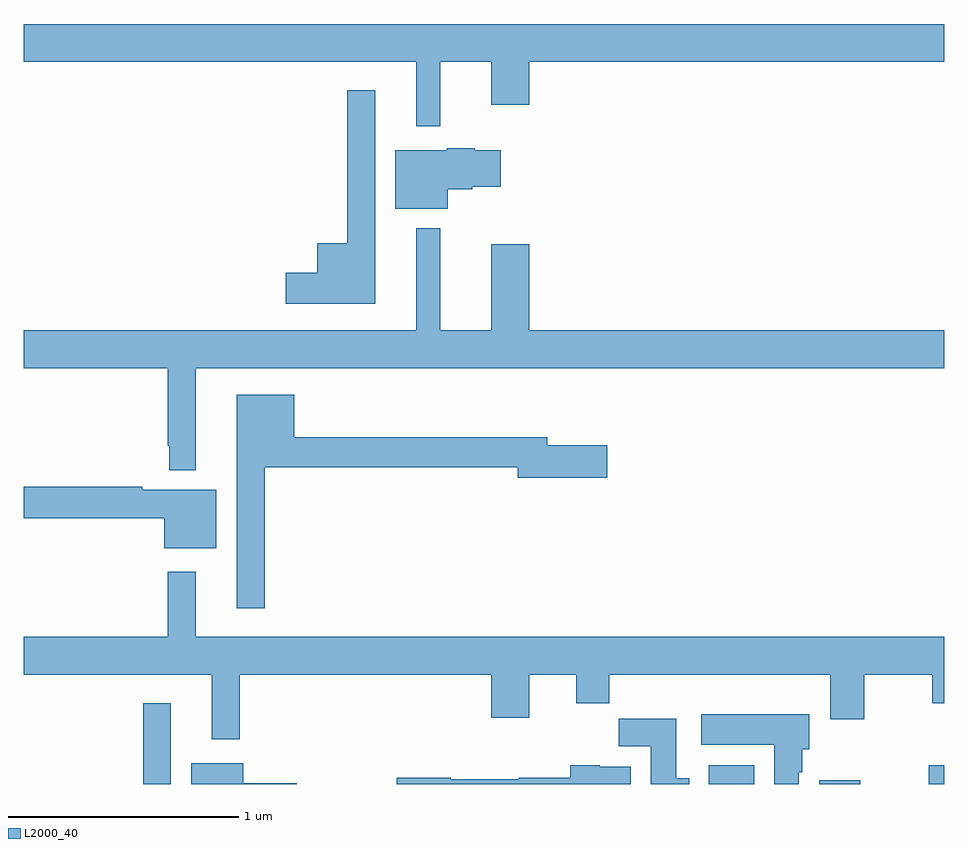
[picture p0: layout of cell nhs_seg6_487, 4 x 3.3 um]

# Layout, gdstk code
import gdstk
lib = gdstk.Library(unit=1e-6, precision=1e-09)
def R(c, l, rs):  # rectangles x0, y0, x1, y1
    for r in rs: c.add(gdstk.rectangle(r[:2], r[2:], *l))
def P(c, l, *ps):  # polygons
    for p in ps: c.add(gdstk.Polygon(p, *l))
L2000_40 = (2000, 40)

nhs_seg6_487 = lib.new_cell('nhs_seg6_487')
R(nhs_seg6_487, L2000_40, [(139.518,973.5,139.639,973.852), (141.977,973.5,142.174,973.582), (142.457,973.5,142.636,973.516), (142.933,973.5,143,973.582)])
P(nhs_seg6_487, L2000_40, [(140.809,976.64),(141.032,976.64),(141.032,976.452),(141.196,976.452),(141.196,976.64),(143,976.64),(143,976.804),(139,976.804),(139,976.64),(140.705,976.64),(140.705,976.359),(140.809,976.359)],
  [(140.527,976.516),(140.406,976.516),(140.406,975.85),(140.276,975.85),(140.276,975.722),(140.139,975.722),(140.139,975.587),(140.527,975.587)],
  [(140.842,976.085),(140.949,976.085),(140.949,976.097),(141.073,976.097),(141.073,976.255),(140.96,976.255),(140.96,976.263),(140.838,976.263),(140.838,976.255),(140.615,976.255),(140.615,976.001),(140.842,976.001)],
  [(139.747,975.308),(143,975.308),(143,975.472),(141.196,975.472),(141.196,975.847),(141.032,975.847),(141.032,975.472),(140.809,975.472),(140.809,975.916),(140.705,975.916),(140.705,975.472),(139,975.472),(139,975.308),(139.626,975.308),(139.626,974.971),(139.632,974.971),(139.632,974.864),(139.747,974.864)],
  [(140.047,974.878),(141.146,974.878),(141.146,974.831),(141.535,974.831),(141.535,974.973),(141.274,974.973),(141.274,975.007),(140.176,975.007),(140.176,975.193),(139.925,975.193),(139.925,974.265),(140.047,974.265)],
  [(139.837,974.779),(139.514,974.779),(139.514,974.792),(139,974.792),(139,974.656),(139.61,974.656),(139.61,974.525),(139.837,974.525)],
  [(139.939,973.976),(141.032,973.976),(141.032,973.788),(141.196,973.788),(141.196,973.976),(141.401,973.976),(141.401,973.852),(141.545,973.852),(141.545,973.976),(142.505,973.976),(142.505,973.782),(142.653,973.782),(142.653,973.976),(142.948,973.976),(142.948,973.852),(143,973.852),(143,974.14),(139.747,974.14),(139.747,974.422),(139.626,974.422),(139.626,974.14),(139,974.14),(139,973.976),(139.817,973.976),(139.817,973.695),(139.939,973.695)],
  [(142.369,973.55),(142.384,973.55),(142.384,973.65),(142.414,973.65),(142.414,973.804),(141.945,973.804),(141.945,973.67),(142.262,973.67),(142.262,973.5),(142.369,973.5)],
  [(141.892,973.524),(141.835,973.524),(141.835,973.783),(141.586,973.783),(141.586,973.664),(141.725,973.664),(141.725,973.5),(141.892,973.5)],
  [(140.185,973.503),(139.954,973.503),(139.954,973.591),(139.727,973.591),(139.727,973.5),(140.185,973.5)],
  [(141.637,973.576),(141.504,973.576),(141.504,973.582),(141.374,973.582),(141.374,973.528),(141.15,973.528),(141.15,973.52),(140.856,973.52),(140.856,973.528),(140.621,973.528),(140.621,973.5),(141.637,973.5)])

lib.write_gds('nhs_seg6_487.gds')
